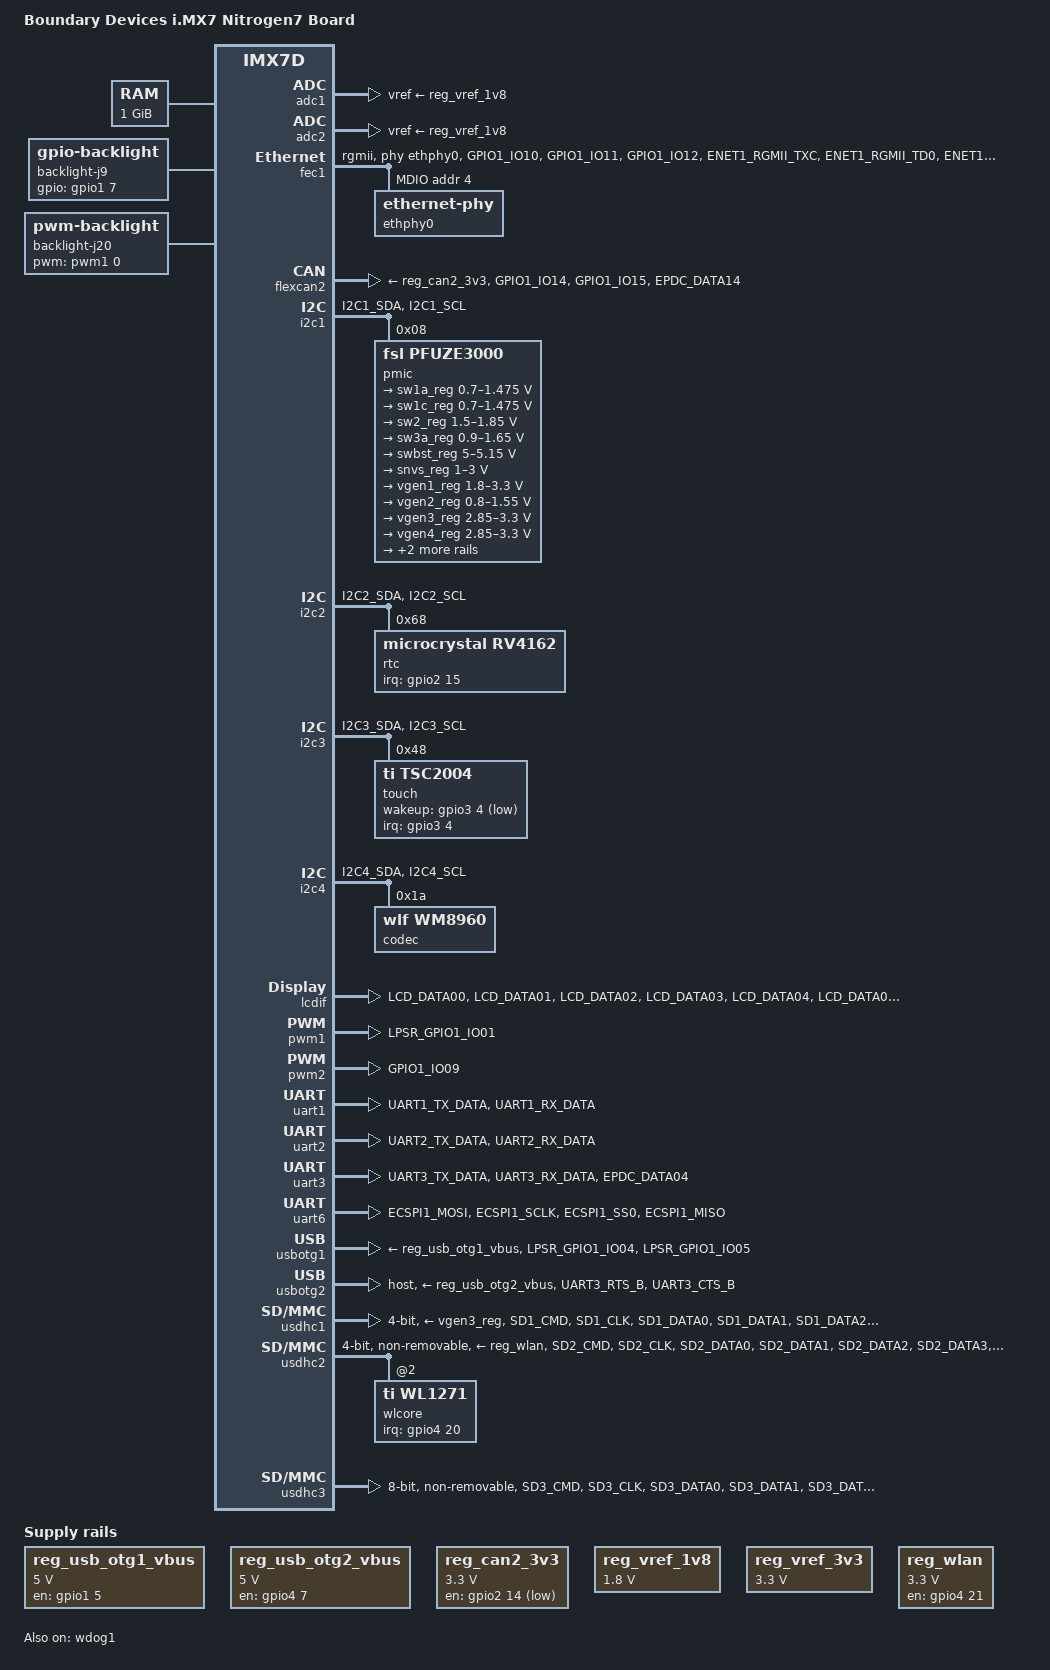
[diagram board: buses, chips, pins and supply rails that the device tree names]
/*
 * Copyright 2016 Boundary Devices, Inc.
 *
 * This file is dual-licensed: you can use it either under the terms
 * of the GPL or the X11 license, at your option. Note that this dual
 * licensing only applies to this file, and not this project as a
 * whole.
 *
 *  a) This file is free software; you can redistribute it and/or
 *     modify it under the terms of the GNU General Public License as
 *     published by the Free Software Foundation; either version 2 of the
 *     License, or (at your option) any later version.
 *
 *     This file is distributed in the hope that it will be useful,
 *     but WITHOUT ANY WARRANTY; without even the implied warranty of
 *     MERCHANTABILITY or FITNESS FOR A PARTICULAR PURPOSE.  See the
 *     GNU General Public License for more details.
 *
 * Or, alternatively,
 *
 *  b) Permission is hereby granted, free of charge, to any person
 *     obtaining a copy of this software and associated documentation
 *     files (the "Software"), to deal in the Software without
 *     restriction, including without limitation the rights to use,
 *     copy, modify, merge, publish, distribute, sublicense, and/or
 *     sell copies of the Software, and to permit persons to whom the
 *     Software is furnished to do so, subject to the following
 *     conditions:
 *
 *     The above copyright notice and this permission notice shall be
 *     included in all copies or substantial portions of the Software.
 *
 *     THE SOFTWARE IS PROVIDED "AS IS", WITHOUT WARRANTY OF ANY KIND,
 *     EXPRESS OR IMPLIED, INCLUDING BUT NOT LIMITED TO THE WARRANTIES
 *     OF MERCHANTABILITY, FITNESS FOR A PARTICULAR PURPOSE AND
 *     NONINFRINGEMENT. IN NO EVENT SHALL THE AUTHORS OR COPYRIGHT
 *     HOLDERS BE LIABLE FOR ANY CLAIM, DAMAGES OR OTHER LIABILITY,
 *     WHETHER IN AN ACTION OF CONTRACT, TORT OR OTHERWISE, ARISING
 *     FROM, OUT OF OR IN CONNECTION WITH THE SOFTWARE OR THE USE OR
 *     OTHER DEALINGS IN THE SOFTWARE.
 */

/dts-v1/;

#include "imx7d.dtsi"

/ {
	model = "Boundary Devices i.MX7 Nitrogen7 Board";
	compatible = "boundary,imx7d-nitrogen7", "fsl,imx7d";

	aliases {
		fb-lcd = &lcdif;
		t-lcd = &t_lcd;
	};

	memory@80000000 {
		reg = <0x80000000 0x40000000>;
	};

	backlight-j9 {
		compatible = "gpio-backlight";
		pinctrl-names = "default";
		pinctrl-0 = <&pinctrl_backlight_j9>;
		gpios = <&gpio1 7 GPIO_ACTIVE_HIGH>;
		default-on;
	};

	backlight-j20 {
		compatible = "pwm-backlight";
		pwms = <&pwm1 0 5000000 0>;
		brightness-levels = <0 4 8 16 32 64 128 255>;
		default-brightness-level = <6>;
		status = "okay";
	};

	reg_usb_otg1_vbus: regulator-usb-otg1-vbus {
		compatible = "regulator-fixed";
		regulator-name = "usb_otg1_vbus";
		regulator-min-microvolt = <5000000>;
		regulator-max-microvolt = <5000000>;
		gpio = <&gpio1 5 GPIO_ACTIVE_HIGH>;
		enable-active-high;
	};

	reg_usb_otg2_vbus: regulator-usb-otg2-vbus {
		compatible = "regulator-fixed";
		regulator-name = "usb_otg2_vbus";
		regulator-min-microvolt = <5000000>;
		regulator-max-microvolt = <5000000>;
		gpio = <&gpio4 7 GPIO_ACTIVE_HIGH>;
		enable-active-high;
	};

	reg_can2_3v3: regulator-can2-3v3 {
		compatible = "regulator-fixed";
		regulator-name = "can2-3v3";
		regulator-min-microvolt = <3300000>;
		regulator-max-microvolt = <3300000>;
		gpio = <&gpio2 14 GPIO_ACTIVE_LOW>;
	};

	reg_vref_1v8: regulator-vref-1v8 {
		compatible = "regulator-fixed";
		regulator-name = "vref-1v8";
		regulator-min-microvolt = <1800000>;
		regulator-max-microvolt = <1800000>;
	};

	reg_vref_3v3: regulator-vref-3v3 {
		compatible = "regulator-fixed";
		regulator-name = "vref-3v3";
		regulator-min-microvolt = <3300000>;
		regulator-max-microvolt = <3300000>;
	};

	reg_wlan: regulator-wlan {
		compatible = "regulator-fixed";
		regulator-min-microvolt = <3300000>;
		regulator-max-microvolt = <3300000>;
		clocks = <&clks IMX7D_CLKO2_ROOT_DIV>;
		clock-names = "slow";
		regulator-name = "reg_wlan";
		startup-delay-us = <70000>;
		gpio = <&gpio4 21 GPIO_ACTIVE_HIGH>;
		enable-active-high;
	};
};

&adc1 {
	vref-supply = <&reg_vref_1v8>;
	status = "okay";
};

&adc2 {
	vref-supply = <&reg_vref_1v8>;
	status = "okay";
};

&clks {
	assigned-clocks = <&clks IMX7D_CLKO2_ROOT_SRC>,
			  <&clks IMX7D_CLKO2_ROOT_DIV>;
	assigned-clock-parents = <&clks IMX7D_CKIL>;
	assigned-clock-rates = <0>, <32768>;
};

&cpu0 {
	cpu-supply = <&sw1a_reg>;
};

&fec1 {
	pinctrl-names = "default";
	pinctrl-0 = <&pinctrl_enet1>;
	assigned-clocks = <&clks IMX7D_ENET1_TIME_ROOT_SRC>,
			  <&clks IMX7D_ENET1_TIME_ROOT_CLK>;
	assigned-clock-parents = <&clks IMX7D_PLL_ENET_MAIN_100M_CLK>;
	assigned-clock-rates = <0>, <100000000>;
	phy-mode = "rgmii";
	phy-handle = <&ethphy0>;
	fsl,magic-packet;
	status = "okay";

	mdio {
		#address-cells = <1>;
		#size-cells = <0>;

		ethphy0: ethernet-phy@4 {
			reg = <4>;
		};
	};
};

&flexcan2 {
	pinctrl-names = "default";
	pinctrl-0 = <&pinctrl_flexcan2>;
	xceiver-supply = <&reg_can2_3v3>;
	status = "okay";
};

&i2c1 {
	pinctrl-names = "default";
	pinctrl-0 = <&pinctrl_i2c1>;
	status = "okay";

	pmic: pfuze3000@8 {
		compatible = "fsl,pfuze3000";
		reg = <0x08>;

		regulators {
			sw1a_reg: sw1a {
				regulator-min-microvolt = <700000>;
				regulator-max-microvolt = <1475000>;
				regulator-boot-on;
				regulator-always-on;
				regulator-ramp-delay = <6250>;
			};

			/* use sw1c_reg to align with pfuze100/pfuze200 */
			sw1c_reg: sw1b {
				regulator-min-microvolt = <700000>;
				regulator-max-microvolt = <1475000>;
				regulator-boot-on;
				regulator-always-on;
				regulator-ramp-delay = <6250>;
			};

			sw2_reg: sw2 {
				regulator-min-microvolt = <1500000>;
				regulator-max-microvolt = <1850000>;
				regulator-boot-on;
				regulator-always-on;
			};

			sw3a_reg: sw3 {
				regulator-min-microvolt = <900000>;
				regulator-max-microvolt = <1650000>;
				regulator-boot-on;
				regulator-always-on;
			};

			swbst_reg: swbst {
				regulator-min-microvolt = <5000000>;
				regulator-max-microvolt = <5150000>;
			};

			snvs_reg: vsnvs {
				regulator-min-microvolt = <1000000>;
				regulator-max-microvolt = <3000000>;
				regulator-boot-on;
				regulator-always-on;
			};

			vref_reg: vrefddr {
				regulator-boot-on;
				regulator-always-on;
			};

			vgen1_reg: vldo1 {
				regulator-min-microvolt = <1800000>;
				regulator-max-microvolt = <3300000>;
				regulator-always-on;
			};

			vgen2_reg: vldo2 {
				regulator-min-microvolt = <800000>;
				regulator-max-microvolt = <1550000>;
				regulator-always-on;
			};

			vgen3_reg: vccsd {
				regulator-min-microvolt = <2850000>;
				regulator-max-microvolt = <3300000>;
				regulator-always-on;
			};

			vgen4_reg: v33 {
				regulator-min-microvolt = <2850000>;
				regulator-max-microvolt = <3300000>;
				regulator-always-on;
			};

			vgen5_reg: vldo3 {
				regulator-min-microvolt = <1800000>;
				regulator-max-microvolt = <3300000>;
				regulator-always-on;
			};

			vgen6_reg: vldo4 {
				regulator-min-microvolt = <1800000>;
				regulator-max-microvolt = <3300000>;
				regulator-always-on;
			};
		};
	};
};

&i2c2 {
	pinctrl-names = "default";
	pinctrl-0 = <&pinctrl_i2c2>;
	status = "okay";

	rtc@68 {
		compatible = "microcrystal,rv4162";
		pinctrl-names = "default";
		pinctrl-0 = <&pinctrl_i2c2_rv4162>;
		reg = <0x68>;
		interrupts-extended = <&gpio2 15 IRQ_TYPE_LEVEL_LOW>;
	};
};

&i2c3 {
	pinctrl-names = "default";
	pinctrl-0 = <&pinctrl_i2c3>;
	status = "okay";

	touch@48 {
		compatible = "ti,tsc2004";
		reg = <0x48>;
		pinctrl-names = "default";
		pinctrl-0 = <&pinctrl_i2c3_tsc2004>;
		interrupts-extended = <&gpio3 4 IRQ_TYPE_EDGE_FALLING>;
		wakeup-gpios = <&gpio3 4 GPIO_ACTIVE_LOW>;
	};
};

&i2c4 {
	pinctrl-names = "default";
	pinctrl-0 = <&pinctrl_i2c4>;
	status = "okay";

	codec: wm8960@1a {
		compatible = "wlf,wm8960";
		reg = <0x1a>;
		clocks = <&clks IMX7D_AUDIO_MCLK_ROOT_CLK>;
		clock-names = "mclk";
		wlf,shared-lrclk;
	};
};

&lcdif {
	pinctrl-names = "default";
	pinctrl-0 = <&pinctrl_lcdif_dat
		     &pinctrl_lcdif_ctrl>;
	lcd-supply = <&reg_vref_3v3>;
	display = <&display0>;
	status = "okay";

	display0: lcd-display {
		bits-per-pixel = <16>;
		bus-width = <18>;

		display-timings {
			native-mode = <&t_lcd>;
			t_lcd: t_lcd_default {
				/* default to Okaya display */
				clock-frequency = <30000000>;
				hactive = <800>;
				vactive = <480>;
				hfront-porch = <40>;
				hback-porch = <40>;
				hsync-len = <48>;
				vback-porch = <29>;
				vfront-porch = <13>;
				vsync-len = <3>;
				hsync-active = <0>;
				vsync-active = <0>;
				de-active = <1>;
				pixelclk-active = <0>;
			};
		};
	};
};

&pwm1 {
	pinctrl-names = "default";
	pinctrl-0 = <&pinctrl_pwm1>;
	status = "okay";
};

&pwm2 {
	pinctrl-names = "default";
	pinctrl-0 = <&pinctrl_pwm2>;
	status = "okay";
};

&uart1 {
	pinctrl-names = "default";
	pinctrl-0 = <&pinctrl_uart1>;
	assigned-clocks = <&clks IMX7D_UART1_ROOT_SRC>;
	assigned-clock-parents = <&clks IMX7D_OSC_24M_CLK>;
	status = "okay";
};

&uart2 {
	pinctrl-names = "default";
	pinctrl-0 = <&pinctrl_uart2>;
	assigned-clocks = <&clks IMX7D_UART2_ROOT_SRC>;
	assigned-clock-parents = <&clks IMX7D_OSC_24M_CLK>;
	status = "okay";
};

&uart3 {
	pinctrl-names = "default";
	pinctrl-0 = <&pinctrl_uart3>;
	assigned-clocks = <&clks IMX7D_UART3_ROOT_SRC>;
	assigned-clock-parents = <&clks IMX7D_OSC_24M_CLK>;
	status = "okay";
};

&uart6 {
	pinctrl-names = "default";
	pinctrl-0 = <&pinctrl_uart6>;
	assigned-clocks = <&clks IMX7D_UART6_ROOT_SRC>;
	assigned-clock-parents = <&clks IMX7D_PLL_SYS_MAIN_240M_CLK>;
	uart-has-rtscts;
	status = "okay";
};

&usbotg1 {
	vbus-supply = <&reg_usb_otg1_vbus>;
	pinctrl-names = "default";
	pinctrl-0 = <&pinctrl_usbotg1>;
	status = "okay";
};

&usbotg2 {
	vbus-supply = <&reg_usb_otg2_vbus>;
	pinctrl-names = "default";
	pinctrl-0 = <&pinctrl_usbotg2>;
	dr_mode = "host";
	status = "okay";
};

&usdhc1 {
	pinctrl-names = "default";
	pinctrl-0 = <&pinctrl_usdhc1>;
	cd-gpios = <&gpio5 0 GPIO_ACTIVE_LOW>;
	vmmc-supply = <&vgen3_reg>;
	bus-width = <4>;
	fsl,tuning-step = <2>;
	wakeup-source;
	keep-power-in-suspend;
	status = "okay";
};

&usdhc2 {
	#address-cells = <1>;
	#size-cells = <0>;
	pinctrl-names = "default";
	pinctrl-0 = <&pinctrl_usdhc2>;
	bus-width = <4>;
	non-removable;
	vmmc-supply = <&reg_wlan>;
	cap-power-off-card;
	keep-power-in-suspend;
	status = "okay";

	wlcore: wlcore@2 {
		compatible = "ti,wl1271";
		reg = <2>;
		interrupt-parent = <&gpio4>;
		interrupts = <20 IRQ_TYPE_LEVEL_HIGH>;
		ref-clock-frequency = <38400000>;
	};
};

&usdhc3 {
	pinctrl-names = "default";
	pinctrl-0 = <&pinctrl_usdhc3>;
	assigned-clocks = <&clks IMX7D_USDHC3_ROOT_CLK>;
	assigned-clock-rates = <400000000>;
	bus-width = <8>;
	fsl,tuning-step = <2>;
	non-removable;
	status = "okay";
};

&wdog1 {
	pinctrl-names = "default";
	pinctrl-0 = <&pinctrl_wdog1>;
	status = "okay";
};

&iomuxc {
	pinctrl-names = "default";
	pinctrl-0 = <&pinctrl_hog_1 &pinctrl_j2>;

	pinctrl_hog_1: hoggrp-1 {
		fsl,pins = <
			MX7D_PAD_SD3_RESET_B__GPIO6_IO11	0x5d
			MX7D_PAD_GPIO1_IO13__GPIO1_IO13		0x7d
			MX7D_PAD_ECSPI2_MISO__GPIO4_IO22	0x7d
		>;
	};

	pinctrl_enet1: enet1grp {
		fsl,pins = <
			MX7D_PAD_GPIO1_IO10__ENET1_MDIO			0x3
			MX7D_PAD_GPIO1_IO11__ENET1_MDC			0x3
			MX7D_PAD_GPIO1_IO12__CCM_ENET_REF_CLK1		0x3
			MX7D_PAD_ENET1_RGMII_TXC__ENET1_RGMII_TXC	0x71
			MX7D_PAD_ENET1_RGMII_TD0__ENET1_RGMII_TD0	0x71
			MX7D_PAD_ENET1_RGMII_TD1__ENET1_RGMII_TD1	0x71
			MX7D_PAD_ENET1_RGMII_TD2__ENET1_RGMII_TD2	0x71
			MX7D_PAD_ENET1_RGMII_TD3__ENET1_RGMII_TD3	0x71
			MX7D_PAD_ENET1_RGMII_TX_CTL__ENET1_RGMII_TX_CTL	0x71
			MX7D_PAD_ENET1_RGMII_RXC__ENET1_RGMII_RXC	0x71
			MX7D_PAD_ENET1_RGMII_RD0__ENET1_RGMII_RD0	0x11
			MX7D_PAD_ENET1_RGMII_RD1__ENET1_RGMII_RD1	0x11
			MX7D_PAD_ENET1_RGMII_RD2__ENET1_RGMII_RD2	0x11
			MX7D_PAD_ENET1_RGMII_RD3__ENET1_RGMII_RD3	0x71
			MX7D_PAD_ENET1_RGMII_RX_CTL__ENET1_RGMII_RX_CTL	0x11
			MX7D_PAD_SD3_STROBE__GPIO6_IO10			0x75
		>;
	};

	pinctrl_flexcan2: flexcan2grp {
		fsl,pins = <
			MX7D_PAD_GPIO1_IO14__FLEXCAN2_RX	0x7d
			MX7D_PAD_GPIO1_IO15__FLEXCAN2_TX	0x7d
			MX7D_PAD_EPDC_DATA14__GPIO2_IO14	0x7d
		>;
	};

	pinctrl_i2c1: i2c1grp {
		fsl,pins = <
			MX7D_PAD_I2C1_SDA__I2C1_SDA		0x4000007f
			MX7D_PAD_I2C1_SCL__I2C1_SCL		0x4000007f
		>;
	};

	pinctrl_i2c2: i2c2grp {
		fsl,pins = <
			MX7D_PAD_I2C2_SDA__I2C2_SDA		0x4000007f
			MX7D_PAD_I2C2_SCL__I2C2_SCL		0x4000007f
		>;
	};

	pinctrl_i2c2_rv4162: i2c2-rv4162grp {
		fsl,pins = <
			MX7D_PAD_EPDC_DATA15__GPIO2_IO15	0x7d
		>;
	};

	pinctrl_i2c3: i2c3grp {
		fsl,pins = <
			MX7D_PAD_I2C3_SDA__I2C3_SDA		0x4000007f
			MX7D_PAD_I2C3_SCL__I2C3_SCL		0x4000007f
		>;
	};

	pinctrl_i2c3_tsc2004: i2c3tsc2004grp {
		fsl,pins = <
			MX7D_PAD_LCD_RESET__GPIO3_IO4		0x79
			MX7D_PAD_SD2_WP__GPIO5_IO10		0x7d
		>;
	};

	pinctrl_i2c4: i2c4grp {
		fsl,pins = <
			MX7D_PAD_I2C4_SDA__I2C4_SDA		0x4000007f
			MX7D_PAD_I2C4_SCL__I2C4_SCL		0x4000007f
		>;
	};

	pinctrl_j2: j2grp {
		fsl,pins = <
			MX7D_PAD_SAI1_TX_DATA__GPIO6_IO15	0x7d
			MX7D_PAD_EPDC_BDR0__GPIO2_IO28		0x7d
			MX7D_PAD_SAI1_RX_DATA__GPIO6_IO12	0x7d
			MX7D_PAD_EPDC_BDR1__GPIO2_IO29		0x7d
			MX7D_PAD_SD1_WP__GPIO5_IO1		0x7d
			MX7D_PAD_EPDC_SDSHR__GPIO2_IO19		0x7d
			MX7D_PAD_SD1_RESET_B__GPIO5_IO2		0x7d
			MX7D_PAD_SD2_RESET_B__GPIO5_IO11	0x7d
			MX7D_PAD_EPDC_DATA07__GPIO2_IO7		0x7d
			MX7D_PAD_EPDC_DATA08__GPIO2_IO8		0x7d
			MX7D_PAD_EPDC_DATA09__GPIO2_IO9		0x7d
			MX7D_PAD_EPDC_DATA10__GPIO2_IO10	0x7d
			MX7D_PAD_EPDC_DATA11__GPIO2_IO11	0x7d
			MX7D_PAD_EPDC_DATA12__GPIO2_IO12	0x7d
			MX7D_PAD_SAI1_TX_SYNC__GPIO6_IO14	0x7d
			MX7D_PAD_EPDC_DATA13__GPIO2_IO13	0x7d
			MX7D_PAD_SAI1_TX_BCLK__GPIO6_IO13	0x7d
			MX7D_PAD_SD2_CD_B__GPIO5_IO9		0x7d
			MX7D_PAD_EPDC_GDCLK__GPIO2_IO24		0x7d
			MX7D_PAD_SAI2_RX_DATA__GPIO6_IO21	0x7d
			MX7D_PAD_EPDC_GDOE__GPIO2_IO25		0x7d
			MX7D_PAD_EPDC_GDRL__GPIO2_IO26		0x7d
			MX7D_PAD_SAI2_TX_DATA__GPIO6_IO22	0x7d
			MX7D_PAD_EPDC_SDCE0__GPIO2_IO20		0x7d
			MX7D_PAD_SAI2_TX_BCLK__GPIO6_IO20	0x7d
			MX7D_PAD_EPDC_SDCE1__GPIO2_IO21		0x7d
			MX7D_PAD_SAI2_TX_SYNC__GPIO6_IO19	0x7d
			MX7D_PAD_EPDC_SDCE2__GPIO2_IO22		0x7d
			MX7D_PAD_EPDC_SDCE3__GPIO2_IO23		0x7d
			MX7D_PAD_EPDC_GDSP__GPIO2_IO27		0x7d
			MX7D_PAD_EPDC_SDCLK__GPIO2_IO16		0x7d
			MX7D_PAD_EPDC_SDLE__GPIO2_IO17		0x7d
			MX7D_PAD_EPDC_SDOE__GPIO2_IO18		0x7d
			MX7D_PAD_EPDC_PWR_COM__GPIO2_IO30	0x7d
			MX7D_PAD_EPDC_PWR_STAT__GPIO2_IO31	0x7d
		>;
	};

	pinctrl_lcdif_dat: lcdifdatgrp {
		fsl,pins = <
			MX7D_PAD_LCD_DATA00__LCD_DATA0		0x79
			MX7D_PAD_LCD_DATA01__LCD_DATA1		0x79
			MX7D_PAD_LCD_DATA02__LCD_DATA2		0x79
			MX7D_PAD_LCD_DATA03__LCD_DATA3		0x79
			MX7D_PAD_LCD_DATA04__LCD_DATA4		0x79
			MX7D_PAD_LCD_DATA05__LCD_DATA5		0x79
			MX7D_PAD_LCD_DATA06__LCD_DATA6		0x79
			MX7D_PAD_LCD_DATA07__LCD_DATA7		0x79
			MX7D_PAD_LCD_DATA08__LCD_DATA8		0x79
			MX7D_PAD_LCD_DATA09__LCD_DATA9		0x79
			MX7D_PAD_LCD_DATA10__LCD_DATA10		0x79
			MX7D_PAD_LCD_DATA11__LCD_DATA11		0x79
			MX7D_PAD_LCD_DATA12__LCD_DATA12		0x79
			MX7D_PAD_LCD_DATA13__LCD_DATA13		0x79
			MX7D_PAD_LCD_DATA14__LCD_DATA14		0x79
			MX7D_PAD_LCD_DATA15__LCD_DATA15		0x79
			MX7D_PAD_LCD_DATA16__LCD_DATA16		0x79
			MX7D_PAD_LCD_DATA17__LCD_DATA17		0x79
			MX7D_PAD_LCD_DATA18__LCD_DATA18		0x79
			MX7D_PAD_LCD_DATA19__LCD_DATA19		0x79
			MX7D_PAD_LCD_DATA20__LCD_DATA20		0x79
			MX7D_PAD_LCD_DATA21__LCD_DATA21		0x79
			MX7D_PAD_LCD_DATA22__LCD_DATA22		0x79
			MX7D_PAD_LCD_DATA23__LCD_DATA23		0x79
		>;
	};

	pinctrl_lcdif_ctrl: lcdifctrlgrp {
		fsl,pins = <
			MX7D_PAD_LCD_CLK__LCD_CLK		0x79
			MX7D_PAD_LCD_ENABLE__LCD_ENABLE		0x79
			MX7D_PAD_LCD_VSYNC__LCD_VSYNC		0x79
			MX7D_PAD_LCD_HSYNC__LCD_HSYNC		0x79
		>;
	};

	pinctrl_pwm2: pwm2grp {
		fsl,pins = <
			MX7D_PAD_GPIO1_IO09__PWM2_OUT		0x7d
		>;
	};

	pinctrl_uart1: uart1grp {
		fsl,pins = <
			MX7D_PAD_UART1_TX_DATA__UART1_DCE_TX	0x79
			MX7D_PAD_UART1_RX_DATA__UART1_DCE_RX	0x79
		>;
	};

	pinctrl_uart2: uart2grp {
		fsl,pins = <
			MX7D_PAD_UART2_TX_DATA__UART2_DCE_TX	0x79
			MX7D_PAD_UART2_RX_DATA__UART2_DCE_RX	0x79
		>;
	};

	pinctrl_uart3: uart3grp {
		fsl,pins = <
			MX7D_PAD_UART3_TX_DATA__UART3_DCE_TX	0x79
			MX7D_PAD_UART3_RX_DATA__UART3_DCE_RX	0x79
			MX7D_PAD_EPDC_DATA04__GPIO2_IO4		0x7d
		>;
	};

	pinctrl_uart6: uart6grp {
		fsl,pins = <
			MX7D_PAD_ECSPI1_MOSI__UART6_DCE_TX	0x79
			MX7D_PAD_ECSPI1_SCLK__UART6_DCE_RX	0x79
			MX7D_PAD_ECSPI1_SS0__UART6_DCE_CTS	0x79
			MX7D_PAD_ECSPI1_MISO__UART6_DCE_RTS	0x79
		>;
	};

	pinctrl_usbotg2: usbotg2grp {
		fsl,pins = <
			MX7D_PAD_UART3_RTS_B__USB_OTG2_OC	0x7d
			MX7D_PAD_UART3_CTS_B__GPIO4_IO7		0x14
		>;
	};

	pinctrl_usdhc1: usdhc1grp {
		fsl,pins = <
			MX7D_PAD_SD1_CMD__SD1_CMD		0x59
			MX7D_PAD_SD1_CLK__SD1_CLK		0x19
			MX7D_PAD_SD1_DATA0__SD1_DATA0		0x59
			MX7D_PAD_SD1_DATA1__SD1_DATA1		0x59
			MX7D_PAD_SD1_DATA2__SD1_DATA2		0x59
			MX7D_PAD_SD1_DATA3__SD1_DATA3		0x59
			MX7D_PAD_GPIO1_IO08__SD1_VSELECT	0x75
			MX7D_PAD_SD1_CD_B__GPIO5_IO0		0x75
		>;
	};

	pinctrl_usdhc2: usdhc2grp {
		fsl,pins = <
			MX7D_PAD_SD2_CMD__SD2_CMD		0x59
			MX7D_PAD_SD2_CLK__SD2_CLK		0x19
			MX7D_PAD_SD2_DATA0__SD2_DATA0		0x59
			MX7D_PAD_SD2_DATA1__SD2_DATA1		0x59
			MX7D_PAD_SD2_DATA2__SD2_DATA2		0x59
			MX7D_PAD_SD2_DATA3__SD2_DATA3		0x59
			MX7D_PAD_ECSPI2_SCLK__GPIO4_IO20	0x59
			MX7D_PAD_ECSPI2_MOSI__GPIO4_IO21	0x59
		>;
	};

	pinctrl_usdhc3: usdhc3grp {
		fsl,pins = <
			MX7D_PAD_SD3_CMD__SD3_CMD		0x59
			MX7D_PAD_SD3_CLK__SD3_CLK		0x19
			MX7D_PAD_SD3_DATA0__SD3_DATA0		0x59
			MX7D_PAD_SD3_DATA1__SD3_DATA1		0x59
			MX7D_PAD_SD3_DATA2__SD3_DATA2		0x59
			MX7D_PAD_SD3_DATA3__SD3_DATA3		0x59
			MX7D_PAD_SD3_DATA4__SD3_DATA4		0x59
			MX7D_PAD_SD3_DATA5__SD3_DATA5		0x59
			MX7D_PAD_SD3_DATA6__SD3_DATA6		0x59
			MX7D_PAD_SD3_DATA7__SD3_DATA7		0x59
		>;
	};
};

&iomuxc_lpsr {
	pinctrl-names = "default";
	pinctrl-0 = <&pinctrl_hog_2>;

	pinctrl_hog_2: hoggrp-2 {
		fsl,pins = <
			MX7D_PAD_LPSR_GPIO1_IO02__GPIO1_IO2	0x7d
			MX7D_PAD_LPSR_GPIO1_IO03__CCM_CLKO2	0x7d
		>;
	};

	pinctrl_backlight_j9: backlightj9grp {
		fsl,pins = <
			MX7D_PAD_LPSR_GPIO1_IO07__GPIO1_IO7	0x7d
		>;
	};

	pinctrl_pwm1: pwm1grp {
		fsl,pins = <
			MX7D_PAD_LPSR_GPIO1_IO01__PWM1_OUT	0x7d
		>;
	};

	pinctrl_usbotg1: usbotg1grp {
		fsl,pins = <
			MX7D_PAD_LPSR_GPIO1_IO04__USB_OTG1_OC	0x7d
			MX7D_PAD_LPSR_GPIO1_IO05__GPIO1_IO5	0x14
		>;
	};

	pinctrl_wdog1: wdog1grp {
		fsl,pins = <
			MX7D_PAD_LPSR_GPIO1_IO00__WDOG1_WDOG_B	0x75
		>;
	};
};
